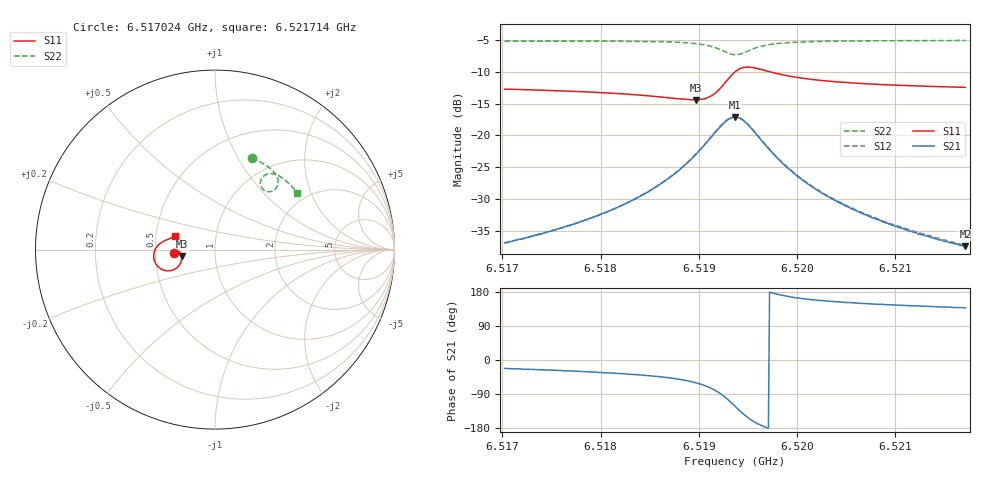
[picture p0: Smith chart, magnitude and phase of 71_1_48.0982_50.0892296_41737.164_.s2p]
#  HZ  S  RI  R  50.00
! Rohde & Schwarz Vector Network Analyzer
! Rohde-Schwarz,ZNB20-2Port,1311601062101988,3.16
! Created: UTC 12/23/2023, 3:41:45 AM
! freq[Hz]  re:S11  im:S11  re:S21  im:S21  re:S12  im:S12  re:S22  im:S22
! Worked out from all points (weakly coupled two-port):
!   401 points, 6.517024 GHz to 6.521714 GHz, reference 50 ohm
!   highest |S21| = -17.12 dB at 6.519369 GHz (marker M1); lowest = -37.4 dB at 6.521714 GHz (marker M2)
!   lowest |S11| = -14.4 dB at 6.51897 GHz (marker M3), VSWR 1.47, Z = 34.2 - j2.72 ohm
!   |S11| at or under -10 dB: start of sweep to 6.519371 GHz; 6.51972 GHz to end of sweep
!   |S22| runs from -7.3 to -5.1 dB; largest |S21 - S12| = 0.0042
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6.5170236e9  -0.2302 -0.0168  0.0133 -0.00549  0.0134 -0.00503  0.2053 0.5086
6.5175161e9  -0.2246 -0.0097  0.0162 -0.00822  0.0162 -0.0077  0.2418 0.4926
6.5178092e9  -0.2203 -0.0066  0.0184 -0.0107  0.0186 -0.0101  0.2635 0.4814
6.5182782e9  -0.2105 -0.00488  0.0238 -0.0179  0.0244 -0.0173  0.2989 0.4589
6.5185948e9  -0.2006 -0.00961  0.0296 -0.0283  0.0304 -0.0275  0.3234 0.4375
6.5187942e9  -0.1928 -0.0192  0.0336 -0.0409  0.035 -0.0402  0.339 0.418
6.51897e9  -0.1863 -0.0383  0.0354 -0.0615  0.0374 -0.0608  0.3501 0.3925
6.5190638e9  -0.1865 -0.0562  0.0322 -0.0789  0.0349 -0.0783  0.3518 0.3731
6.5191459e9  -0.1936 -0.078  0.0225 -0.0986  0.0255 -0.0986  0.3467 0.3526
6.5192749e9  -0.2369 -0.1146  -0.0217 -0.1274  -0.0182 -0.1289  0.3131 0.3241
6.5193218e9  -0.265 -0.1184  -0.0477 -0.1278  -0.0443 -0.1301  0.2927 0.3232
6.5193687e9  -0.2952 -0.1109  -0.0739 -0.1181  -0.071 -0.121  0.2726 0.3318
6.5194273e9  -0.3251 -0.0861  -0.0978 -0.0932  -0.0959 -0.0966  0.2563 0.3529
6.519486e9  -0.3398 -0.0538  -0.1073 -0.0635  -0.1062 -0.0669  0.2535 0.3773
6.5195798e9  -0.3373 -0.00959  -0.1001 -0.026  -0.1002 -0.0291  0.2675 0.4061
6.5196853e9  -0.3208 0.02  -0.0828 -0.00321  -0.0833 -0.00572  0.2905 0.42
6.5198846e9  -0.2923 0.0436  -0.0563 0.0112  -0.0571 0.00961  0.3264 0.4218
6.5201543e9  -0.2693 0.0544  -0.037 0.0141  -0.0377 0.0131  0.3587 0.4099
6.5205178e9  -0.2522 0.0614  -0.0242 0.0132  -0.0249 0.0125  0.3888 0.3893
6.5209399e9  -0.2399 0.0675  -0.0167 0.0113  -0.0172 0.011  0.4164 0.3642
6.5214207e9  -0.2301 0.0743  -0.0119 0.00981  -0.0124 0.00964  0.4427 0.3351
6.5217138e9  -0.2251 0.0783  -0.01 0.0091  -0.0104 0.00902  0.4571 0.3168
